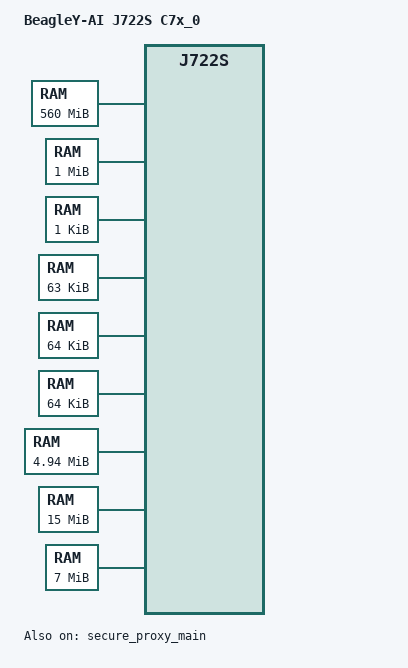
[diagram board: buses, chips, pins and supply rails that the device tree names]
/*
 * Copyright (c) 2026 Texas Instruments Incorporated
 * SPDX-License-Identifier: Apache-2.0
 */

/dts-v1/;

#include <ti/ti_j722s_c7524.dtsi>

/ {
	model = "BeagleY-AI J722S C7x_0";
	compatible = "beagle,beagley-ai", "ti,j722s";

	chosen {
		zephyr,sram = &ddr_fw;
		zephyr,flash = &ddr_fw;
		zephyr,ipc = &ipc0;
		zephyr,ipc_shm = &ddr_ipc;
	};

	/* DDR owned by Linux and the other remote cores: declared, never
	 * allocated into, so a stray placement fails the link.
	 */
	ddr0_reserved: memory@80000000 {
		compatible = "zephyr,memory-region", "mmio-sram";
		reg = <0x00 0x80000000 0x00 0x23000000>;
		zephyr,memory-region = "DDR0_RESERVED";
		zephyr,memory-region-flags = "";
	};

	ddr_ipc: memory@a3000000 {
		compatible = "zephyr,memory-region", "mmio-sram";
		reg = <0x00 0xa3000000 0x00 0x00100000>;
		zephyr,memory-region = "IPC_VRING";
		zephyr,memory-region-flags = "rw";
	};

	rsc_table: memory@a3100000 {
		compatible = "zephyr,memory-region", "mmio-sram";
		reg = <0x00 0xa3100000 0x00 0x00000400>;
		zephyr,memory-region = "IPC_RSC";
		zephyr,memory-region-flags = "rw";
	};

	trace_buf: memory@a3100400 {
		compatible = "zephyr,memory-region", "mmio-sram";
		reg = <0x00 0xa3100400 0x00 0x0000fc00>;
		zephyr,memory-region = "TRACE";
		zephyr,memory-region-flags = "rw";
	};

	diag_band: memory@a3110000 {
		compatible = "zephyr,memory-region", "mmio-sram";
		reg = <0x00 0xa3110000 0x00 0x00010000>;
		zephyr,memory-region = "DIAG";
		zephyr,memory-region-flags = "rw";
	};

	vectors: memory@a3400000 {
		compatible = "zephyr,memory-region", "mmio-sram";
		reg = <0x00 0xa3400000 0x00 0x00010000>;
		zephyr,memory-region = "VECTORS";
		zephyr,memory-region-flags = "rx";
	};

	fw_sram: memory@a3410000 {
		compatible = "zephyr,memory-region", "mmio-sram";
		reg = <0x00 0xa3410000 0x00 0x004f0000>;
		zephyr,memory-region = "SRAM";
		zephyr,memory-region-flags = "rwx";
	};

	/* firmware DDR past the resource table page */
	ddr_fw: memory@a3101000 {
		compatible = "mmio-sram";
		reg = <0x00 0xa3101000 0x00 0x00eff000>;
	};

	stacks: memory@a3900000 {
		compatible = "zephyr,memory-region", "mmio-sram";
		reg = <0x00 0xa3900000 0x00 0x00700000>;
		zephyr,memory-region = "STACKS";
		zephyr,memory-region-flags = "rw";
	};

	ipc0: ipc0 {
		compatible = "zephyr,ipc-openamp-static-vrings";
		memory-region = <&ddr_ipc>;
		mboxes = <&mailbox_c7x 1>, <&mailbox_c7x 0>;
		mbox-names = "rx", "tx";
		role = "remote";
		status = "okay";
	};
};

&secure_proxy_main {
	status = "okay";
};
